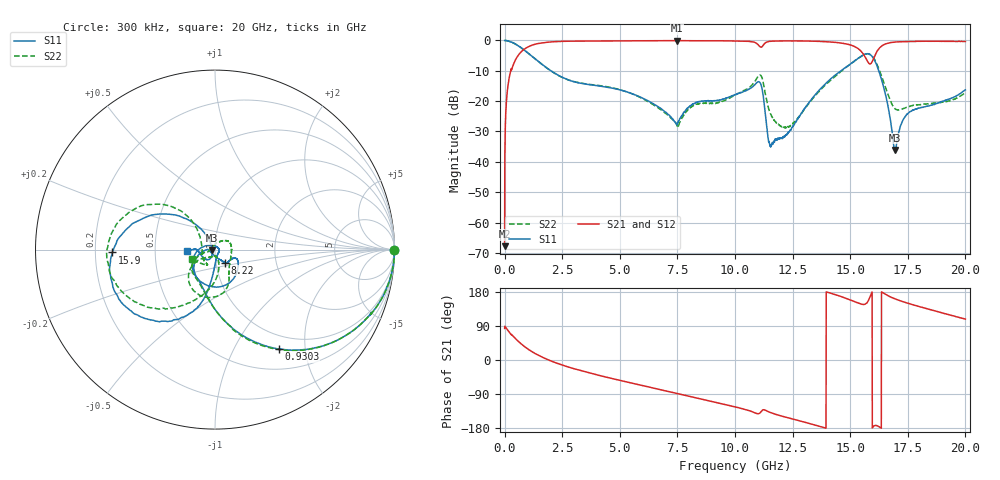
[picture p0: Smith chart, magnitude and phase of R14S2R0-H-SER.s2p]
!{R14S2R0}
!Johanson Technology Inc.
!www.johansontechnology.com
!Test Board Conditions:
!Substrate Type  RO4350B
!Substrate Thickness  20 mil
!Substrate Dk  3.66
!TL Type: GCPW
!TL Trace Width  36 mil
!TL Gap  12 mil
!Electrode orientation  Horizontal
!DUT TOPOLOGY	SERIES
!Mounting Pad LxW  26x36 mil
! Created Wed Nov 25 17:33:21 2020
! 2 Port Network Data from SP1.SP block
! freq  magS11  angS11  magS21  angS21  magS12  angS12  magS22  angS22
# khz S ma R 50
! decimated to every 10th point (10 MHz spacing) of the original 1 MHz Johanson file; values unchanged
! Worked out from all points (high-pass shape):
!   2001 points, 300 kHz to 20 GHz, reference 50 ohm
!   highest |S21| = -0.05 dB at 7.47 GHz (marker M1); lowest = -67.8 dB at 300 kHz (marker M2)
!   |S21| within 3 dB of the highest: 821.7 MHz to 15.4 GHz (14.58 GHz wide, 180 % of centre); 16.21 GHz to end of sweep
!   lowest |S11| = -36.1 dB at 16.95 GHz (marker M3), VSWR 1.03, Z = 48.5 - j0.309 ohm
!   |S11| at or under -10 dB: 2.01 GHz to 14.6 GHz (12.59 GHz wide, 152 % of centre); 16.24 GHz to end of sweep
!   |S22| runs from -28.8 to 0.0 dB; largest |S21 - S12| = 0.015
!   S11 on the Smith chart (normalised r, x): 300 kHz: open; 930.3 MHz: 0.79, -1.53; 8.22 GHz: 1.11, -0.16; 15.9 GHz: 0.27, -0.01; 20 GHz: 0.73, -0.01
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300  0.997 -0.1  0.0004079 83.3  0.0004142 87.8  0.9952 -0.2
110300  0.9891 -9.1  0.137 80.8  0.1376 80.8  0.9904 -9.1
190300  0.9713 -15.5  0.2325 74.3  0.2334 74.3  0.9717 -15.5
930300  0.6571 -57.3  0.7513 32.5  0.7504 32.5  0.6592 -57.6
1870300  0.3441 -88.6  0.9345 1.1  0.9359 1.1  0.3433 -88.8
3340300  0.1959 -117.2  0.9763 -28.6  0.9766 -28.6  0.1978 -119.3
6670300  0.08044 -167.7  0.9909 -77.1  0.9904 -77.0  0.07749 -161.9
7470300  0.04133 178.6  0.9938 -88.2  0.9919 -88.1  0.0413 -163.4
8220300  0.09146 -52.4  0.9879 -98.7  0.9885 -98.5  0.08519 33.7
1.00003e7  0.1284 -22.7  0.9811 -123.6  0.9798 -123.6  0.1262 -50.3
1.10703e7  0.205 -100.6  0.7982 -140.4  0.7995 -140.3  0.2701 -98.7
1.15603e7  0.01847 50.1  0.9693 -139.2  0.9709 -139.2  0.06018 -133.5
1.23003e7  0.0292 -56.0  0.9829 -152.6  0.9834 -152.4  0.03834 -88.5
1.33403e7  0.1096 -93.2  0.9729 -169.4  0.9766 -169.4  0.1065 -78.4
1.52403e7  0.477 -122.9  0.7728 152.8  0.7792 152.2  0.4716 -136.8
1.55903e7  0.5821 -144.5  0.5809 146.3  0.583 146.1  0.578 -158.8
1.59003e7  0.5723 -178.4  0.4152 172.9  0.4173 172.8  0.5769 169.0
1.61903e7  0.3576 146.3  0.6849 -174.1  0.6872 -173.8  0.381 138.7
1.66703e7  0.07251 121.1  0.9094 168.8  0.9072 169.0  0.1202 136.9
1.69503e7  0.01574 -168.3  0.9399 161.3  0.9398 161.4  0.07456 167.7
1.75403e7  0.06423 -121.6  0.9626 149.1  0.9615 149.1  0.08136 -144.8
2e7  0.1536 -177.1  0.9618 107.9  0.9612 108.0  0.1395 -156.8
